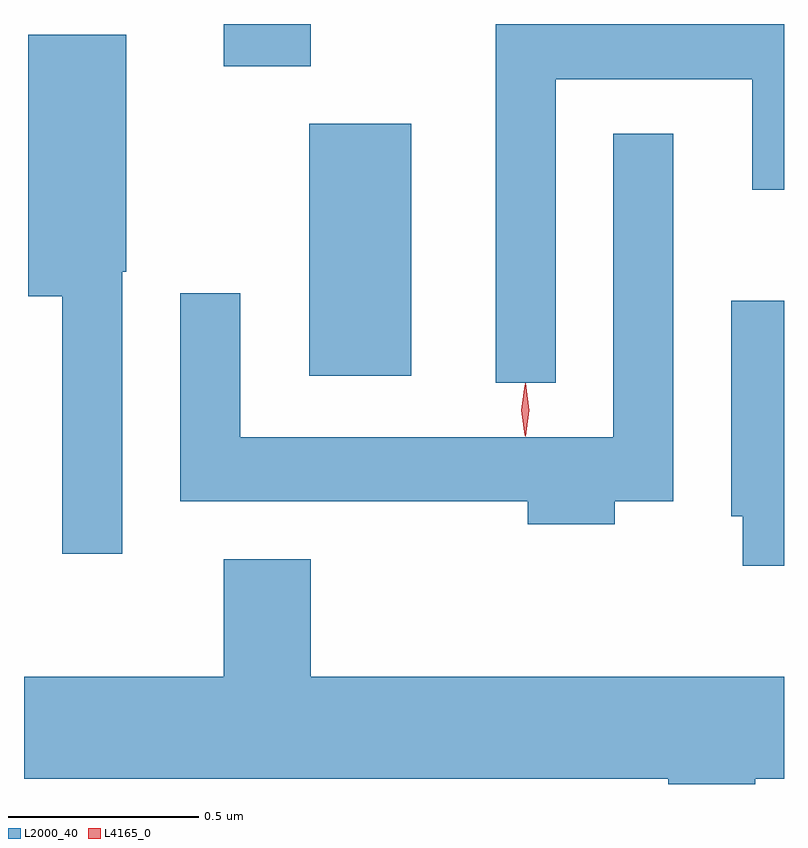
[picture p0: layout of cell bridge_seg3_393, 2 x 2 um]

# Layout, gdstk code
import gdstk
lib = gdstk.Library(unit=1e-6, precision=1e-09)
def R(c, l, rs):  # rectangles x0, y0, x1, y1
    for r in rs: c.add(gdstk.rectangle(r[:2], r[2:], *l))
def P(c, l, *ps):  # polygons
    for p in ps: c.add(gdstk.Polygon(p, *l))
L2000_40 = (2000, 40)
L4165_0 = (4165, 0)

bridge_seg3_393 = lib.new_cell('bridge_seg3_393')
R(bridge_seg3_393, L2000_40, [(527.176,1162.596,527.444,1163.259), (526.951,1163.411,527.179,1163.522)])
P(bridge_seg3_393, L2000_40, [(527.824,1163.376),(528.341,1163.376),(528.341,1163.086),(528.425,1163.086),(528.425,1163.522),(527.666,1163.522),(527.666,1162.578),(527.824,1162.578)],
  [(526.684,1162.87),(526.694,1162.87),(526.694,1163.494),(526.436,1163.494),(526.436,1162.806),(526.526,1162.806),(526.526,1162.128),(526.684,1162.128)],
  [(527.979,1162.266),(528.134,1162.266),(528.134,1163.233),(527.976,1163.233),(527.976,1162.434),(526.994,1162.434),(526.994,1162.813),(526.836,1162.813),(526.836,1162.266),(527.751,1162.266),(527.751,1162.206),(527.979,1162.206)],
  [(528.425,1162.794),(528.286,1162.794),(528.286,1162.226),(528.316,1162.226),(528.316,1162.096),(528.425,1162.096)],
  [(528.349,1161.536),(528.425,1161.536),(528.425,1161.804),(527.179,1161.804),(527.179,1162.114),(526.951,1162.114),(526.951,1161.804),(526.425,1161.804),(526.425,1161.536),(528.121,1161.536),(528.121,1161.522),(528.349,1161.522)])
P(bridge_seg3_393, L4165_0, [(527.744,1162.439),(527.743,1162.44),(527.734,1162.506),(527.743,1162.572),(527.744,1162.573),(527.744,1162.572),(527.754,1162.506),(527.744,1162.44)],
  [(527.744,1162.437),(527.735,1162.506),(527.744,1162.576),(527.745,1162.576),(527.745,1162.576),(527.755,1162.506),(527.745,1162.437),(527.745,1162.437)])

lib.write_gds('bridge_seg3_393.gds')
